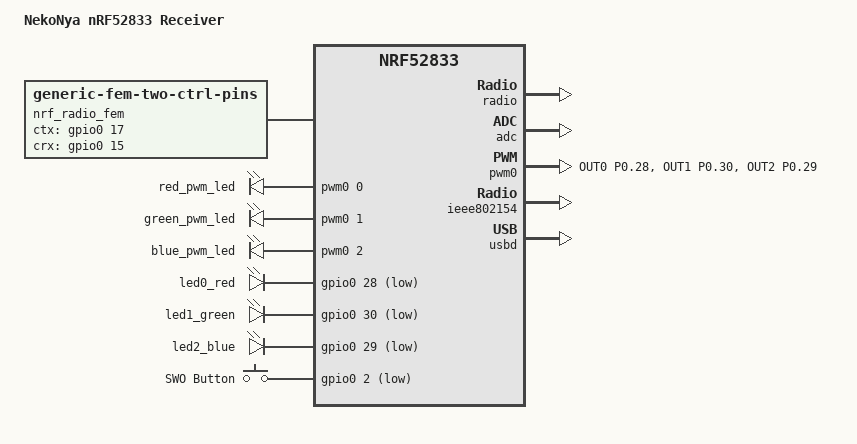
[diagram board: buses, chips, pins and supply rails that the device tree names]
// Copyright (c) 2024 Your Name
// SPDX-License-Identifier: Apache-2.0

/dts-v1/;
#include <nordic/nrf52833_qdaa.dtsi>
#include <zephyr/dt-bindings/input/input-event-codes.h>

&pinctrl {
    pwm0_default: pwm0_default {
        group1 {
            psels = <NRF_PSEL(PWM_OUT0, 0, 28)>,  /* Red */
                    <NRF_PSEL(PWM_OUT1, 0, 30)>,  /* Green */
                    <NRF_PSEL(PWM_OUT2, 0, 29)>;  /* Blue */
            nordic,invert;
        };
    };

    pwm0_sleep: pwm0_sleep {
        group1 {
            psels = <NRF_PSEL(PWM_OUT0, 0, 28)>,
                    <NRF_PSEL(PWM_OUT1, 0, 30)>,
                    <NRF_PSEL(PWM_OUT2, 0, 29)>;
            low-power-enable;
        };
    };
};

/ {
    model = "NekoNya nRF52833 Receiver";
    compatible = "nekonya_uf2";

    chosen {
        zephyr,console = &cdc_acm_uart;
        zephyr,shell-uart = &cdc_acm_uart;
        zephyr,uart-mcumgr = &cdc_acm_uart;
        zephyr,bt-mon-uart = &cdc_acm_uart;
        zephyr,bt-c2h-uart = &cdc_acm_uart;
        zephyr,sram = &sram0;
        zephyr,flash = &flash0;
        zephyr,ieee802154 = &ieee802154;
    };

    nrf_radio_fem: at2401c {
        compatible = "generic-fem-two-ctrl-pins";
        ctx-gpios = <&gpio0 17 GPIO_ACTIVE_HIGH>;
        ctx-settle-time-us = <1>;
        crx-gpios = <&gpio0 15 GPIO_ACTIVE_HIGH>;
        crx-settle-time-us = <1>;
        tx-gain-db = <17>;
        rx-gain-db = <12>;
    };

    pwmleds {
        compatible = "pwm-leds";
        red_pwm_led: pwm_led_red {
            pwms = <&pwm0 0 PWM_MSEC(1) PWM_POLARITY_NORMAL>;
        };
        green_pwm_led: pwm_led_green {
            pwms = <&pwm0 1 PWM_MSEC(1) PWM_POLARITY_NORMAL>;
        };
        blue_pwm_led: pwm_led_blue {
            pwms = <&pwm0 2 PWM_MSEC(1) PWM_POLARITY_NORMAL>;
        };
    };

    leds {
        compatible = "gpio-leds";
        led0_red: led_red_gpio {
            gpios = <&gpio0 28 GPIO_ACTIVE_LOW>;
        };
        led1_green: led_green_gpio {
            gpios = <&gpio0 30 GPIO_ACTIVE_LOW>;
        };
        led2_blue: led_blue_gpio {
            gpios = <&gpio0 29 GPIO_ACTIVE_LOW>;
        };
    };

    buttons {
        compatible = "gpio-keys";
        button0: button_swo {
            gpios = <&gpio0 2 (GPIO_PULL_UP | GPIO_ACTIVE_LOW)>;
            label = "SWO Button";
            zephyr,code = <INPUT_KEY_0>;
        };
    };

    aliases {
        sw0 = &button0;
        led0 = &led0_red;
        led1 = &led1_green;
        led2 = &led2_blue;
        pwm-led0 = &red_pwm_led;
        pwm-led1 = &green_pwm_led;
        pwm-led2 = &blue_pwm_led;
        watchdog0 = &wdt0;
    };
};

&reg0 {
    status = "disabled";
};

&reg1 {
    regulator-initial-mode = <NRF5X_REG_MODE_LDO>;
};

&radio {
    fem = <&nrf_radio_fem>;
};

&adc {
    status = "okay";
};

&gpio0 {
    status = "okay";
};

&gpiote {
    status = "okay";
};

&uicr {
    nfct-pins-as-gpios;
    gpio-as-nreset;
};

&pwm0 {
    status = "okay";
    pinctrl-0 = <&pwm0_default>;
    pinctrl-1 = <&pwm0_sleep>;
    pinctrl-names = "default", "sleep";
};

&ieee802154 {
    status = "okay";
};

zephyr_udc0: &usbd {
    compatible = "nordic,nrf-usbd";
    status = "okay";
    cdc_acm_uart: cdc_acm_uart {
        compatible = "zephyr,cdc-acm-uart";
    };
};

&nfct {
    status = "disabled";
};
